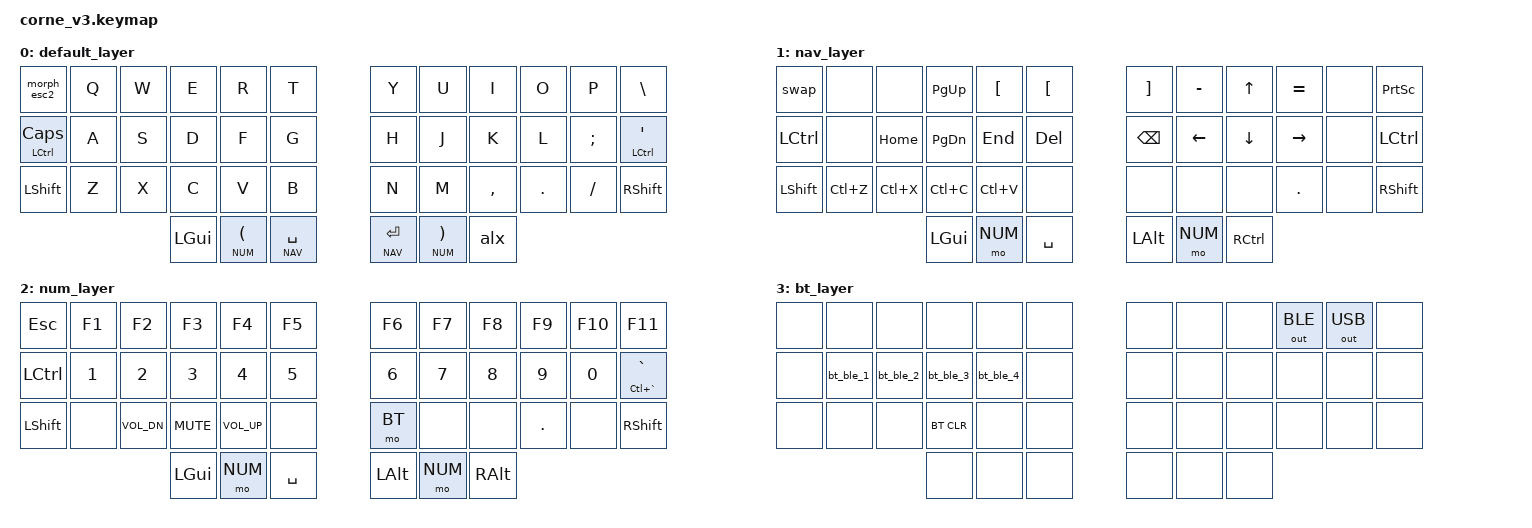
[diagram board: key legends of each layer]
/*
 * Copyright (c) 2020 The ZMK Contributors
 *
 * SPDX-License-Identifier: MIT
 */

#include <behaviors.dtsi>
#include <dt-bindings/zmk/keys.h>
#include <dt-bindings/zmk/bt.h>
#include <dt-bindings/zmk/outputs.h>
#include <dt-bindings/zmk/modifiers.h>

#define DEFAULT 0
#define NAV 1
#define NUM 2
#define BT 3
// #define FUN 4

# define ______ &trans

/ {

    behaviors {
        lt1: layer_tap {
            compatible = "zmk,behavior-hold-tap";
            #binding-cells = <2>;
            flavor = "tap-preferred";
            tapping-term-ms = <200>;
            bindings = <&mo>, <&kp>;
            display-name = "Layer-Tap";
            require-prior-idle-ms = <125>;
        };

        pn: paren_num {
            compatible = "zmk,behavior-hold-tap";
            #binding-cells = <2>;
            flavor = "hold-preferred";
            tapping-term-ms = <200>;
            bindings = <&mo>, <&kp>;
            display-name = "paren-num";
        };        

        grave_ctrl: grave_ctrl {
            compatible = "zmk,behavior-hold-tap";
            label = "GRAVE_CTRL";
            #binding-cells = <2>;
            bindings = <&kp>, <&kp>; // NOTE: Hold binding first, then Tap binding!
            // --- Optional Parameters ---
            tapping-term-ms = <200>;        // Time (ms) to decide between tap and hold. Adjust as needed.
            // flavor = "tap-preferred";    // Optional: Makes tapping easier if you sometimes hold briefly after tapping.
                                            // Other flavors: "hold-preferred", "balanced" (default)
            // quick-tap-ms = <150>;        // Optional: Taps within this time after another key are always taps (requires flavor != "hold-preferred")
        };

        morph_esc: morph_esc {
            compatible = "zmk,behavior-mod-morph";
            #binding-cells = <0>;
            bindings = <&kp TAB>, <&kp ESC>;
            mods = <(MOD_LCTL)>;
            keep-mods = <(MOD_LCTL)>;
        };

        morph_esc2: morph_esc2 {
            compatible = "zmk,behavior-mod-morph";
            #binding-cells = <0>;
            bindings = <&kp TAB>, <&morph_esc>;
            mods = <(MOD_LSFT)>;
            keep-mods = <(MOD_LSFT)>;
        };

        swap: swapper {
            compatible = "zmk,behavior-tri-state";
            label = "SWAPPER";
            #binding-cells = <0>;
            bindings = <&kt LALT>, <&kp TAB>, <&kt LALT>;
            ignored-key-positions = <8 19 20 21>;
        };

        bspc_del: backspace_delete {
            compatible = "zmk,behavior-mod-morph";
            #binding-cells = <0>;
            bindings = <&kp BACKSPACE>, <&kp DELETE>;
            mods = <(MOD_LSFT|MOD_RSFT)>;
            keep-mods = <(MOD_RSFT)>;
        };
        super_bspc: super_backspace {
            compatible = "zmk,behavior-mod-morph";
            #binding-cells = <0>;
            bindings = <&kp BACKSPACE>, <&kp LA(BACKSPACE)>;
            mods = <(MOD_LSFT|MOD_RSFT)>;
        };
        smart_shft: smart_shift {
            compatible = "zmk,behavior-mod-morph";
            #binding-cells = <0>;
            bindings = <&kp LSHFT>, <&caps_word>;
            mods = <(MOD_LSFT)>;
        };
        comma_semi: comma_semi {
            compatible = "zmk,behavior-mod-morph";
            #binding-cells = <0>;
            bindings = <&kp COMMA>, <&kp SEMI>;
            mods = <(MOD_LSFT)>;
        };
        slh_morph: slh_morph {
            compatible = "zmk,behavior-mod-morph";
            #binding-cells = <0>;
            bindings = <&kp FSLH>, <&kp BSLH>;
            mods = <(MOD_LSFT)>;
        };
        amps_morph: amps_morph {
            compatible = "zmk,behavior-mod-morph";
            #binding-cells = <0>;
            bindings = <&kp AMPS>, <&kp PIPE>;
            mods = <(MOD_LSFT)>;
        };
        alx: alt_shift_swap {
            compatible = "zmk,behavior-mod-morph";
            #binding-cells = <0>;
            bindings = <&kp RALT>, <&kp LALT>;
            mods = <(MOD_LSFT|MOD_RSFT)>;
        };
    };

    combos {
        compatible = "zmk,combos"; // 콤보 기능 사용 선언

        // 1. F11 + F10 -> F12
        combo_f12 {
            timeout-ms = <50>; // 콤보 인식 시간 (ms)
            key-positions = <10 11>; // F11과 F10 키의 *물리적 위치 인덱스*. 사용자의 키보드 레이아웃에 맞게 수정해야 함!
            bindings = <&kp F12>;   // F12 키코드 출력
            layers = <2>; // 특정 레이어에서만 동작하게 하려면 추가 (예: 기본 레이어 0)
        };

        // 2. [ + - -> []
        combo_brackets {
            timeout-ms = <50>;
            key-positions = <4 7>; // '[' 와 '-' 키의 *물리적 위치 인덱스*. 사용자의 키보드 레이아웃에 맞게 수정해야 함!
            bindings = <&macro_brackets>; // 아래 정의된 매크로 호출
            layers = <1>;
        };

        // 3. End + Left Arrow -> ()
        combo_parens {
            timeout-ms = <50>;
            key-positions = <16 19>; // End 와 Left Arrow 키의 *물리적 위치 인덱스*. 사용자의 키보드 레이아웃에 맞게 수정해야 함!
            bindings = <&macro_parens>; // 아래 정의된 매크로 호출
            layers = <1>;
        };

        combo_reset {
            timeout-ms = <50>;
            key-positions = <25 34>; // z + /
            bindings = <&bootloader>;
            layers = <3>;
        };
    }; // combos 끝

    macros {
        // 2번 콤보용 매크로: [] 입력
        macro_brackets: macro_brackets {
            compatible = "zmk,behavior-macro";
            label = "MACRO_BRACKETS"; // 매크로 이름 (ZMK 내부용)
            #binding-cells = <0>;
            bindings = <&kp LBKT &kp RBKT>; // '[' 키코드(LBKT) 누르고 ']' 키코드(RBKT) 누르기
        };

        // 3번 콤보용 매크로: () 입력
        macro_parens: macro_parens {
            compatible = "zmk,behavior-macro";
            label = "MACRO_PARENS";
            #binding-cells = <0>;
            bindings = <&kp LPAR &kp RPAR>; // '(' 키코드(LPAR) 누르고 ')' 키코드(RPAR) 누르기
        };

        bt_ble_1: bt_ble_1 {
            compatible = "zmk,behavior-macro";
            label = "BT_BLE_1";
            #binding-cells = <0>;
            bindings = <&out OUT_BLE &bt BT_SEL 1>;
        };

        bt_ble_2: bt_ble_2 {
            compatible = "zmk,behavior-macro";
            label = "BT_BLE_2";
            #binding-cells = <0>;
            bindings = <&out OUT_BLE &bt BT_SEL 2>;
        };

        bt_ble_3: bt_ble_3 {
            compatible = "zmk,behavior-macro";
            label = "BT_BLE_3";
            #binding-cells = <0>;
            bindings = <&out OUT_BLE &bt BT_SEL 3>;
        };

        bt_ble_4: bt_ble_4 {
            compatible = "zmk,behavior-macro";
            label = "BT_BLE_4";
            #binding-cells = <0>;
            bindings = <&out OUT_BLE &bt BT_SEL 4>;
        };
    }; // macros 끝    

        keymap {
                compatible = "zmk,keymap";

                default_layer {
                        bindings = <
// ╭─────────────┬─────────────┬─────────────┬─────────────┬─────────────┬─────────────╮     ╭─────────────┬─────────────┬─────────────┬─────────────┬─────────────┬─────────────╮
//      00            01            02            03            04            05                  06            07            08            09            10            11
// ├─────────────┼─────────────┼─────────────┼─────────────┼─────────────┼─────────────┤     ├─────────────┼─────────────┼─────────────┼─────────────┼─────────────┬─────────────┤
//      12            13            14            15            16            17                  18            19            20            21            22            23
// ├─────────────┼─────────────┼─────────────┼─────────────┼─────────────┼─────────────┤     ├─────────────┼─────────────┼─────────────┼─────────────┼─────────────┬─────────────┤
//      24            25            26            27            28            29                  30            31            32            33            34            35
// ╰─────────────┼─────────────┴─────────────┼─────────────┼─────────────┼─────────────┤     ├─────────────┼─────────────┼─────────────┼─────────────┴─────────────┴─────────────╯
//                                                36            37            38                  39            40            41
//                                           ╰─────────────┴─────────────┴─────────────╯     ╰─────────────┴─────────────┴─────────────╯



// ╭─────────────┬─────────────┬─────────────┬─────────────┬─────────────┬─────────────╮   ╭─────────────┬─────────────┬─────────────┬─────────────┬─────────────┬─────────────╮
    &morph_esc2       &kp Q         &kp W         &kp E         &kp R         &kp T             &kp Y         &kp U         &kp I         &kp O         &kp P        &kp BSLH   
// ├─────────────┼─────────────┼─────────────┼─────────────┼─────────────┼─────────────┤   ├─────────────┼─────────────┼─────────────┼─────────────┼─────────────┬─────────────┤
    &mt LCTRL CAPS    &kp A         &kp S         &kp D         &kp F         &kp G             &kp H         &kp J         &kp K         &kp L        &kp SEMI   &mt LCTRL APOS
// ├─────────────┼─────────────┼─────────────┼─────────────┼─────────────┼─────────────┤   ├─────────────┼─────────────┼─────────────┼─────────────┼─────────────┬─────────────┤
//  &mt LSHFT LPAR    &kp Z         &kp X         &kp C         &kp V         &kp B             &kp N         &kp M        &kp COMMA     &kp DOT       &kp FSLH   &mt RSHFT RPAR
    &kp LSHFT         &kp Z         &kp X         &kp C         &kp V         &kp B             &kp N         &kp M        &kp COMMA     &kp DOT       &kp FSLH   &kp RSHFT
// ╰─────────────┼─────────────┴─────────────┼─────────────┼─────────────┼─────────────┤   ├─────────────┼─────────────┼─────────────┼─────────────┴─────────────┴─────────────╯
                                                  &kp LGUI  &pn NUM LPAR  &lt1 NAV SPACE    &lt1 NAV RET   &pn NUM RPAR    &alx
//                                           ╰─────────────┴─────────────┴─────────────╯   ╰─────────────┴─────────────┴─────────────╯
                        >;
                };

                nav_layer {
                        bindings = <
// ╭─────────────┬─────────────┬─────────────┬─────────────┬─────────────┬─────────────╮   ╭─────────────┬─────────────┬─────────────┬─────────────┬─────────────┬─────────────╮
       &swap          &none         &none       &kp PG_UP      &kp LBKT      &kp LBKT          &kp RBKT     &kp MINUS       &kp UP       &kp EQUAL      &none       &kp PSCRN   
// ├─────────────┼─────────────┼─────────────┼─────────────┼─────────────┼─────────────┤   ├─────────────┼─────────────┼─────────────┼─────────────┼─────────────┬─────────────┤
       &kp LCTRL      &none        &kp HOME    &kp PG_DN     &kp END        &kp DEL          &kp BSPC      &kp LEFT      &kp DOWN      &kp RIGHT      &none       &kp LCTRL
// ├─────────────┼─────────────┼─────────────┼─────────────┼─────────────┼─────────────┤   ├─────────────┼─────────────┼─────────────┼─────────────┼─────────────┬─────────────┤
       &kp LSHFT     &kp LC(Z)     &kp LC(X)     &kp LC(C)     &kp LC(V)      &none             &none         &none         &none         &kp DOT       &none       &kp RSHFT
// ╰─────────────┼─────────────┴─────────────┼─────────────┼─────────────┼─────────────┤   ├─────────────┼─────────────┼─────────────┼─────────────┴─────────────┴─────────────╯
                                                 &kp LGUI      &mo NUM      &kp SPACE           &kp LALT      &mo NUM      &kp RCTRL
//                                           ╰─────────────┴─────────────┴─────────────╯   ╰─────────────┴─────────────┴─────────────╯
                        >;
                };
 
                num_layer {
                        bindings = <
// ╭─────────────┬─────────────┬─────────────┬─────────────┬─────────────┬─────────────╮   ╭─────────────┬─────────────┬─────────────┬─────────────┬─────────────┬─────────────╮
       &kp ESC        &kp F1        &kp F2        &kp F3        &kp F4        &kp F5            &kp F6        &kp F7        &kp F8        &kp F9       &kp F10       &kp F11   
// ├─────────────┼─────────────┼─────────────┼─────────────┼─────────────┼─────────────┤   ├─────────────┼─────────────┼─────────────┼─────────────┼─────────────┬─────────────┤
       &kp LCTRL      &kp N1        &kp N2        &kp N3        &kp N4        &kp N5            &kp N6        &kp N7        &kp N8        &kp N9       &kp N0      &grave_ctrl LC(GRAVE) GRAVE
// ├─────────────┼─────────────┼─────────────┼─────────────┼─────────────┼─────────────┤   ├─────────────┼─────────────┼─────────────┼─────────────┼─────────────┬─────────────┤
       &kp LSHFT      &none      &kp C_VOL_DN   &kp C_MUTE   &kp C_VOL_UP     &none             &mo BT         &none         &none        &kp DOT        &none        &kp RSHFT
// ╰─────────────┼─────────────┴─────────────┼─────────────┼─────────────┼─────────────┤   ├─────────────┼─────────────┼─────────────┼─────────────┴─────────────┴─────────────╯
                                                  &kp LGUI      &mo NUM     &kp SPACE           &kp LALT      &mo NUM      &kp RALT
//                                           ╰─────────────┴─────────────┴─────────────╯   ╰─────────────┴─────────────┴─────────────╯
                        >;
                };
 
                bt_layer {
                        bindings = <
// ╭─────────────┬─────────────┬─────────────┬─────────────┬─────────────┬─────────────╮   ╭─────────────┬─────────────┬─────────────┬─────────────┬─────────────┬─────────────╮
       &none          &none         &none         &none         &none         &none             &none         &none        &none       &out OUT_BLE  &out OUT_USB  &none
// ├─────────────┼─────────────┼─────────────┼─────────────┼─────────────┼─────────────┤   ├─────────────┼─────────────┼─────────────┼─────────────┼─────────────┬─────────────┤
       &none      &bt_ble_1      &bt_ble_2     &bt_ble_3     &bt_ble_4    &none             &none         &none        &none        &none       &none       &none
// ├─────────────┼─────────────┼─────────────┼─────────────┼─────────────┼─────────────┤   ├─────────────┼─────────────┼─────────────┼─────────────┼─────────────┬─────────────┤
       &none          &none         &none      &bt BT_CLR       &none         &none             &none         &none        &none        &none       &none       &none 
// ╰─────────────┼─────────────┴─────────────┼─────────────┼─────────────┼─────────────┤   ├─────────────┼─────────────┼─────────────┼─────────────┴─────────────┴─────────────╯
                                                  &none         &none         &none             &none         &none        &none
//                                           ╰─────────────┴─────────────┴─────────────╯   ╰─────────────┴─────────────┴─────────────╯
                        >;
                };

        
        };
};
